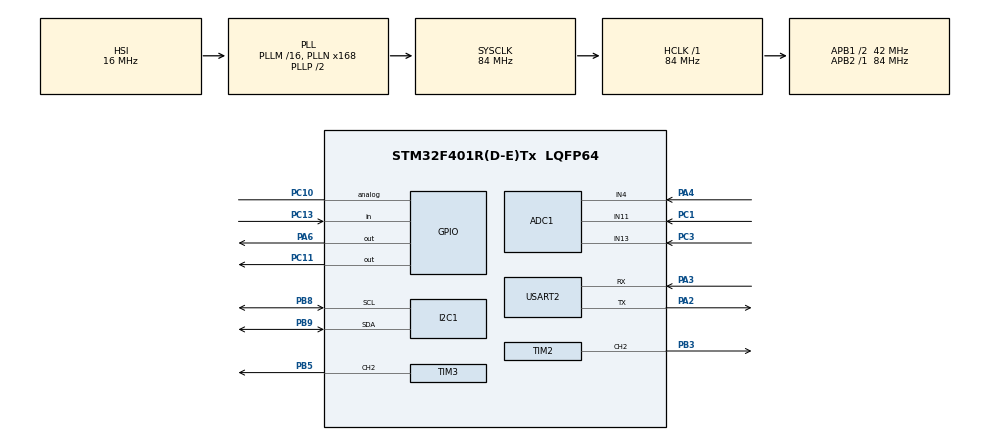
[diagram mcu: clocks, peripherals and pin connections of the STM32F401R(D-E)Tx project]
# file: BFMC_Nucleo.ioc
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ADC1.Channel-0\#ChannelRegularConversion=ADC_CHANNEL_11
ADC1.Channel-1\#ChannelRegularConversion=ADC_CHANNEL_4
ADC1.Channel-2\#ChannelRegularConversion=ADC_CHANNEL_13
ADC1.ClockPrescaler=ADC_CLOCK_SYNC_PCLK_DIV8
ADC1.ContinuousConvMode=ENABLE
ADC1.DMAContinuousRequests=ENABLE
ADC1.DiscontinuousConvMode=DISABLE
ADC1.EOCSelection=ADC_EOC_SEQ_CONV
ADC1.ExternalTrigConv=ADC_EXTERNALTRIGCONV_T3_TRGO
ADC1.InjNumberOfConversion=0
ADC1.NbrOfConversion=3
ADC1.NbrOfConversionFlag=1
ADC1.Rank-0\#ChannelRegularConversion=1
ADC1.Rank-1\#ChannelRegularConversion=2
ADC1.Rank-2\#ChannelRegularConversion=3
ADC1.SamplingTime-0\#ChannelRegularConversion=ADC_SAMPLETIME_480CYCLES
ADC1.SamplingTime-1\#ChannelRegularConversion=ADC_SAMPLETIME_480CYCLES
ADC1.SamplingTime-2\#ChannelRegularConversion=ADC_SAMPLETIME_480CYCLES
ADC1.master=1
Dma.ADC1.0.Direction=DMA_PERIPH_TO_MEMORY
Dma.ADC1.0.FIFOMode=DMA_FIFOMODE_DISABLE
Dma.ADC1.0.Instance=DMA2_Stream0
Dma.ADC1.0.MemDataAlignment=DMA_MDATAALIGN_WORD
Dma.ADC1.0.MemInc=DMA_MINC_ENABLE
Dma.ADC1.0.Mode=DMA_CIRCULAR
Dma.ADC1.0.PeriphDataAlignment=DMA_PDATAALIGN_WORD
Dma.ADC1.0.PeriphInc=DMA_PINC_DISABLE
Dma.ADC1.0.Priority=DMA_PRIORITY_LOW
Dma.Request0=ADC1
I2C1.I2C_Mode=I2C_Fast
Mcu.Family=STM32F4
Mcu.Name=STM32F401R(D-E)Tx
Mcu.Package=LQFP64
NVIC.ADC_IRQn=true\:0\:0\:false\:false\:true\:true\:true\:true
NVIC.DMA2_Stream0_IRQn=true\:0\:0\:false\:false\:true\:false\:true\:true
NVIC.I2C1_ER_IRQn=true\:2\:0\:true\:false\:true\:true\:true\:true
NVIC.I2C1_EV_IRQn=true\:2\:0\:true\:false\:true\:true\:true\:true
NVIC.PriorityGroup=NVIC_PRIORITYGROUP_4
NVIC.TIM2_IRQn=true\:2\:0\:true\:false\:true\:true\:true\:true
NVIC.TIM3_IRQn=true\:1\:0\:true\:false\:true\:true\:true\:true
NVIC.TIM4_IRQn=true\:2\:0\:true\:false\:true\:true\:true\:true
NVIC.USART2_IRQn=true\:0\:0\:true\:false\:true\:true\:true\:true
PA13.Mode=Serial_Wire
PA13.Signal=SYS_JTMS-SWDIO
PA14.Mode=Serial_Wire
PA14.Signal=SYS_JTCK-SWCLK
PA2.Mode=Asynchronous
PA2.Signal=USART2_TX
PA3.Mode=Asynchronous
PA3.Signal=USART2_RX
PA4.Signal=ADCx_IN4
PA6.Signal=GPIO_Output
PB3.Signal=S_TIM2_CH2
PB5.Signal=S_TIM3_CH2
PB8.Mode=I2C
PB8.Signal=I2C1_SCL
PB9.Mode=I2C
PB9.Signal=I2C1_SDA
PC1.Signal=ADCx_IN11
PC10.Signal=GPIO_Analog
PC11.Signal=GPIO_Output
PC13-ANTI_TAMP.Signal=GPIO_Input
PC3.Signal=ADCx_IN13
ProjectManager.HeapSize=0x200
ProjectManager.StackSize=0x400
ProjectManager.TargetToolchain=STM32CubeIDE
RCC.48MHZClocksFreq_Value=42000000
RCC.AHBFreq_Value=84000000
RCC.APB1CLKDivider=RCC_HCLK_DIV2
RCC.APB1Freq_Value=42000000
RCC.APB1TimFreq_Value=84000000
RCC.APB2Freq_Value=84000000
RCC.APB2TimFreq_Value=84000000
RCC.CortexFreq_Value=84000000
RCC.HCLKFreq_Value=84000000
RCC.HSE_VALUE=25000000
RCC.HSI_VALUE=16000000
RCC.LSE_VALUE=32768
RCC.PLLN=168
RCC.SYSCLKFreq_VALUE=84000000
RCC.SYSCLKSource=RCC_SYSCLKSOURCE_PLLCLK
RCC.VCOOutputFreq_Value=168000000
SH.ADCx_IN11.0=ADC1_IN11,IN11
SH.ADCx_IN13.0=ADC1_IN13,IN13
SH.ADCx_IN4.0=ADC1_IN4,IN4
SH.S_TIM2_CH2.0=TIM2_CH2,PWM Generation2 CH2
SH.S_TIM3_CH2.0=TIM3_CH2,PWM Generation2 CH2
TIM2.AutoReloadPreload=TIM_AUTORELOAD_PRELOAD_ENABLE
TIM2.Channel-PWM\ Generation2\ CH2=TIM_CHANNEL_2
TIM2.Period=20000
TIM2.Prescaler=84
TIM2.TIM_MasterOutputTrigger=TIM_TRGO_UPDATE
TIM3.AutoReloadPreload=TIM_AUTORELOAD_PRELOAD_ENABLE
TIM3.Channel-PWM\ Generation2\ CH2=TIM_CHANNEL_2
TIM3.Period=20000
TIM3.Prescaler=84
TIM3.TIM_MasterOutputTrigger=TIM_TRGO_UPDATE
TIM4.Channel-PWM\ Generation1\ No\ Output=TIM_CHANNEL_1
TIM4.OC1Preload_PWM=DISABLE
TIM4.Period=10000
TIM4.Prescaler=84-1
TIM4.Pulse-PWM\ Generation1\ No\ Output=10000
TIM4.TIM_MasterOutputTrigger=TIM_TRGO_ENABLE
USART2.VirtualMode=VM_ASYNC
VP_TIM2_VS_ClockSourceINT.Mode=Internal
VP_TIM3_VS_ClockSourceINT.Mode=Internal
VP_TIM4_VS_ClockSourceINT.Mode=Internal
VP_TIM4_VS_OPM.Mode=OPM_bit
VP_TIM4_VS_no_output1.Mode=PWM Generation1 No Output
board=custom

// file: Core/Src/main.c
/* USER CODE BEGIN Header */
/**
  ******************************************************************************
  * @file           : main.c
  * @brief          : Main program body
  ******************************************************************************
  * @attention
  *
  * <h2><center>&copy; Copyright (c) 2025 STMicroelectronics.
  * All rights reserved.</center></h2>
  *
  * This software component is licensed by ST under BSD 3-Clause license,
  * the "License"; You may not use this file except in compliance with the
  * License. You may obtain a copy of the License at:
  *                        opensource.org/licenses/BSD-3-Clause
  *
  ******************************************************************************
  */
/* USER CODE END Header */
#include "main.h"

/* USER CODE BEGIN Includes */

#include <math.h>
#include <stdio.h>
#include <string.h>
#include <stdbool.h>

/* USER CODE END Includes */

ADC_HandleTypeDef hadc1;
DMA_HandleTypeDef hdma_adc1;

I2C_HandleTypeDef hi2c1;

TIM_HandleTypeDef htim2;
TIM_HandleTypeDef htim3;
TIM_HandleTypeDef htim4;

UART_HandleTypeDef huart2;

void SystemClock_Config(void);
static void MX_GPIO_Init(void);
static void MX_DMA_Init(void);
static void MX_USART2_UART_Init(void);
static void MX_TIM3_Init(void);
static void MX_TIM2_Init(void);
static void MX_ADC1_Init(void);
static void MX_I2C1_Init(void);
static void MX_TIM4_Init(void);
/* USER CODE BEGIN PFP */
float  Map(float Value, float fromLow, float fromHigh, float toLow, float toHigh);
void CommandProcessing();
void ADCaverage();

int16_t interpolate(int speed, const int speedValuesP[], const int speedValuesN[], const int stepValues[], int size);
int conversion(int f_speed, int step_value, int zero_default);

void ReadIMU();

/* USER CODE END PFP */

/* USER CODE BEGIN 0 */
uint32_t adc_IN[3];
int vBat=0;
int instCons=0;

int aveV=0;
int aveI=0;
int countADC=0;
int count2=0;

char rxData[1];				//Buffer Uart Recieve
char txData[250];			//Buffer Uart Transmit

char command[30];			//Buffer Command

int speed=0;
float kPSpeed=0.01;
float kDSpeed=0.01;
int steer=0;
int kl=0;

int timCount=0;
float realSpeed=0;			//velocidad medida con optocoplador
float speedProp=0;			//
float distance=0;

float distanceSpeed;
int	timSpeed=0;
int countTimeSpeed=25;

int optoCount=0;			//Cuenta de optocoplador.
int optoCountWErrors=0;

float optoFrecuency=0;

float optoK =5.66974; 				//5.58;			//Distancia recorrida por pulso de optocoplador

int speedValuesP[25] = {
     40, 50, 60, 70, 80, 90, 100, 110, 120, 130,
    140, 150, 160, 170, 180, 190, 200, 210, 220, 260,
    300, 350, 400, 450, 500
};

int speedValuesN[25] = {
     -40, -50, -60, -70, -80, -90, -100, -110, -120, -130,
    -140, -150, -160, -170, -180, -190, -200, -210, -220, -260,
    -300, -350, -400, -450, -500
};

// StepValues have a scale factor applied (*10)
int stepValues[25] = {
    214, 176, 152, 134, 120, 110, 102, 94, 86, 82,
    78, 74, 70, 68, 66, 64, 60, 58, 56, 50,
    48, 42, 38, 36, 34
};

int velInter=0;

int velInter2=0;

//IMU
int i2cBuff[2];

int direction=0;
HAL_I2C_StateTypeDef estado;
HAL_I2C_StateTypeDef estado2;

uint8_t mode_config = 0x00;  // CONFIGMODE
uint8_t mode_ndof   = 0x0C;  // NDOF //orientacion sin magnetometro=0x0B----con magnetometro 0x0C

uint16_t const BNO055_ADDRESS=82;		//28
uint16_t const BNO055_OPR_MODE_ADDR=0x3D;

uint8_t euler_data[6];
int16_t heading;
int16_t roll;
int16_t pitch;

float f_heading;
float f_headingOffset;

float f_roll;
float f_pitch;

uint16_t const BNO055_EULER_H_LSB_ADDR = 0x1A;

//calculo de coordenadas
float xCoordinates;
float yCoordinates;
float deltaDistance;
float angleOffset=0;

//Optocoplador ADC
int flagRisingOpto=0;

int pepe=1;

/* USER CODE END 0 */

int main(void)
{

  /* MCU Configuration--------------------------------------------------------*/

  /* Reset of all peripherals, Initializes the Flash interface and the Systick. */
  HAL_Init();

  /* Configure the system clock */
  SystemClock_Config();

  /* Initialize all configured peripherals */
  MX_GPIO_Init();
  MX_DMA_Init();
  MX_USART2_UART_Init();
  MX_TIM3_Init();
  MX_TIM2_Init();
  MX_ADC1_Init();
  MX_I2C1_Init();
  MX_TIM4_Init();
  /* USER CODE BEGIN 2 */

  sprintf (txData,
		  "\r\n\r\n"
		  "#################\r\n"
		  "#               #\r\n"
		  "#   I'm GROOT   #\r\n"
		  "#               #\r\n"
		  "#################\r\n"
		  "\r\n");

  HAL_UART_Transmit_IT(&huart2,(uint8_t *)txData, strlen(txData));		//Activa interrupcion de Transmicion UART

  HAL_UART_Receive_IT (&huart2,(uint8_t *)rxData,1);					//Activa interrupcion de recepcion UART

 // HAL_ADC_Start(&hadc1);

  HAL_TIM_PWM_Start_IT(&htim3, TIM_CHANNEL_2);							//activa interrupcion PWM de timer 3
  HAL_TIM_PWM_Start_IT(&htim2, TIM_CHANNEL_2);							//activa interrupcion PWM de timer 2

  HAL_TIM_Base_Start_IT(&htim3);										//Activa interrupcion de fin de cuenta timer 3
  HAL_TIM_Base_Start(&htim3);											//Inicia el timer 3
  HAL_ADC_Start_DMA(&hadc1, (uint32_t *)adc_IN, 3);						//inicio de DMA para ADC con 3 canales

  //IMU

//    estado=HAL_I2C_GetState(&hi2c1);
//    estado2=HAL_I2C_IsDeviceReady(&hi2c1, 28, 1, 100);

    if(HAL_I2C_IsDeviceReady(&hi2c1, 82, 1, 10)== HAL_OK)				//consulta si el dispositivo de la direccion 82 responde
    {
  	  direction=82;

    }else

    HAL_I2C_Mem_Write(&hi2c1, BNO055_ADDRESS, BNO055_OPR_MODE_ADDR, 1, &mode_config, 1, HAL_MAX_DELAY);		//configuracion del IMU
    HAL_Delay(25);
    HAL_I2C_Mem_Write(&hi2c1, BNO055_ADDRESS, BNO055_OPR_MODE_ADDR, 1, &mode_ndof, 1, HAL_MAX_DELAY);		//Configuracion del IMU
    HAL_Delay(250);

	ReadIMU();
	angleOffset=f_heading;
	f_headingOffset=f_heading-angleOffset;		//setea en 0 el angulo con un offset

	//Cosas para optocoplador

	HAL_TIM_OnePulse_Init(&htim4, TIM_OPMODE_SINGLE);  // Modo One Pulse (una vez)
	HAL_TIM_OnePulse_Start(&htim4, TIM_CHANNEL_1);

	__HAL_TIM_SET_COUNTER(&htim4, 0);					//setea la cuenta en 0
	__HAL_TIM_CLEAR_FLAG(&htim4, TIM_FLAG_UPDATE);		//resetea el flag del timer

	TIM4->CR1 |= TIM_CR1_CEN;							//Dispara el timer

/*
	__HAL_TIM_SET_COUNTER(&htim4, 0);
	__HAL_TIM_CLEAR_FLAG(&htim4, TIM_FLAG_UPDATE);

	HAL_TIM_OnePulse_Start(&htim4, TIM_OPMODE_SINGLE);
*/
  /* USER CODE END 2 */

  /* Infinite loop */
  while (1)
  {

    /* USER CODE BEGIN 3 */
	 //Prueba parpadeo de led con tim4
	  /*
	  if ((__HAL_TIM_GET_COUNTER(&htim4) > 7000 || __HAL_TIM_GET_COUNTER(&htim4)==0) )
	  	{
	      	__HAL_TIM_SET_COUNTER(&htim4, 0);
	      	__HAL_TIM_CLEAR_FLAG(&htim4, TIM_FLAG_UPDATE);

	  		TIM4->CR1 |= TIM_CR1_CEN;

	      	HAL_GPIO_TogglePin(GPIOC, GPIO_PIN_11);		//TIM3 Output test

	  	}

*/

//	  pepe=__HAL_TIM_GET_COUNTER(&htim4);		//lee el contador del timer

	if(kl<30)
		{
			speed=0;
			htim2.Instance->CCR2= 1500;			//Setea el ancho del PWM en uS
		}

	if(HAL_GPIO_ReadPin(GPIOC, GPIO_PIN_13)==0)		//Pregunta si se pulso el boton azul de la NUCLEO
	{
		speed=0;
		htim2.Instance->CCR2=1500;
		kl=0;

		ReadIMU();
		//angleOffset=f_heading;
		//f_headingOffset=f_heading-angleOffset;
		distance=0;
		//xCoordinates=0;
		//f_headingOffsetyCoordinates=0;

		sprintf (txData,"Lara Stopped Manualy\r\n\r\n"
				"@kl:%d;;\r\n"
				"@speed:%d;;\r\n"
				"@distance:%.2f;;\r\n"
				"@position:%.2f;%.2f;\r\n"
				"@imu:%.2f;%.2f;%.2f;0;0;0;\r\n"
				"\r\n\r\n"

				"cant de pulsos------------------>%d\r\n"
				"cant de pulsos + errores-------->%d\r\n\r\n"

				,
				kl, speed, distance, xCoordinates, yCoordinates, f_roll, f_pitch, f_headingOffset, optoCount, optoCountWErrors);
		HAL_UART_Transmit_IT(&huart2,(uint8_t *)txData, strlen(txData));

	}

  }
  /* USER CODE END 3 */
}

void SystemClock_Config(void)
{
  RCC_OscInitTypeDef RCC_OscInitStruct = {0};
  RCC_ClkInitTypeDef RCC_ClkInitStruct = {0};

  /** Configure the main internal regulator output voltage
  */
  __HAL_RCC_PWR_CLK_ENABLE();
  __HAL_PWR_VOLTAGESCALING_CONFIG(PWR_REGULATOR_VOLTAGE_SCALE2);

  /** Initializes the RCC Oscillators according to the specified parameters
  * in the RCC_OscInitTypeDef structure.
  */
  RCC_OscInitStruct.OscillatorType = RCC_OSCILLATORTYPE_HSI;
  RCC_OscInitStruct.HSIState = RCC_HSI_ON;
  RCC_OscInitStruct.HSICalibrationValue = RCC_HSICALIBRATION_DEFAULT;
  RCC_OscInitStruct.PLL.PLLState = RCC_PLL_ON;
  RCC_OscInitStruct.PLL.PLLSource = RCC_PLLSOURCE_HSI;
  RCC_OscInitStruct.PLL.PLLM = 16;
  RCC_OscInitStruct.PLL.PLLN = 168;
  RCC_OscInitStruct.PLL.PLLP = RCC_PLLP_DIV2;
  RCC_OscInitStruct.PLL.PLLQ = 4;
  if (HAL_RCC_OscConfig(&RCC_OscInitStruct) != HAL_OK)
  {
    Error_Handler();
  }

  /** Initializes the CPU, AHB and APB buses clocks
  */
  RCC_ClkInitStruct.ClockType = RCC_CLOCKTYPE_HCLK|RCC_CLOCKTYPE_SYSCLK
                              |RCC_CLOCKTYPE_PCLK1|RCC_CLOCKTYPE_PCLK2;
  RCC_ClkInitStruct.SYSCLKSource = RCC_SYSCLKSOURCE_PLLCLK;
  RCC_ClkInitStruct.AHBCLKDivider = RCC_SYSCLK_DIV1;
  RCC_ClkInitStruct.APB1CLKDivider = RCC_HCLK_DIV2;
  RCC_ClkInitStruct.APB2CLKDivider = RCC_HCLK_DIV1;

  if (HAL_RCC_ClockConfig(&RCC_ClkInitStruct, FLASH_LATENCY_2) != HAL_OK)
  {
    Error_Handler();
  }
}

static void MX_ADC1_Init(void)
{

  ADC_ChannelConfTypeDef sConfig = {0};

  /** Configure the global features of the ADC (Clock, Resolution, Data Alignment and number of conversion)
  */
  hadc1.Instance = ADC1;
  hadc1.Init.ClockPrescaler = ADC_CLOCK_SYNC_PCLK_DIV8;
  hadc1.Init.Resolution = ADC_RESOLUTION_12B;
  hadc1.Init.ScanConvMode = ENABLE;
  hadc1.Init.ContinuousConvMode = ENABLE;
  hadc1.Init.DiscontinuousConvMode = DISABLE;
  hadc1.Init.ExternalTrigConvEdge = ADC_EXTERNALTRIGCONVEDGE_RISING;
  hadc1.Init.ExternalTrigConv = ADC_EXTERNALTRIGCONV_T3_TRGO;
  hadc1.Init.DataAlign = ADC_DATAALIGN_RIGHT;
  hadc1.Init.NbrOfConversion = 3;
  hadc1.Init.DMAContinuousRequests = ENABLE;
  hadc1.Init.EOCSelection = ADC_EOC_SEQ_CONV;
  if (HAL_ADC_Init(&hadc1) != HAL_OK)
  {
    Error_Handler();
  }

  /** Configure for the selected ADC regular channel its corresponding rank in the sequencer and its sample time.
  */
  sConfig.Channel = ADC_CHANNEL_11;
  sConfig.Rank = 1;
  sConfig.SamplingTime = ADC_SAMPLETIME_480CYCLES;
  if (HAL_ADC_ConfigChannel(&hadc1, &sConfig) != HAL_OK)
  {
    Error_Handler();
  }

  /** Configure for the selected ADC regular channel its corresponding rank in the sequencer and its sample time.
  */
  sConfig.Channel = ADC_CHANNEL_4;
  sConfig.Rank = 2;
  if (HAL_ADC_ConfigChannel(&hadc1, &sConfig) != HAL_OK)
  {
    Error_Handler();
  }

  /** Configure for the selected ADC regular channel its corresponding rank in the sequencer and its sample time.
  */
  sConfig.Channel = ADC_CHANNEL_13;
  sConfig.Rank = 3;
  if (HAL_ADC_ConfigChannel(&hadc1, &sConfig) != HAL_OK)
  {
    Error_Handler();
  }

}

static void MX_I2C1_Init(void)
{

  hi2c1.Instance = I2C1;
  hi2c1.Init.ClockSpeed = 400000;
  hi2c1.Init.DutyCycle = I2C_DUTYCYCLE_2;
  hi2c1.Init.OwnAddress1 = 0;
  hi2c1.Init.AddressingMode = I2C_ADDRESSINGMODE_7BIT;
  hi2c1.Init.DualAddressMode = I2C_DUALADDRESS_DISABLE;
  hi2c1.Init.OwnAddress2 = 0;
  hi2c1.Init.GeneralCallMode = I2C_GENERALCALL_DISABLE;
  hi2c1.Init.NoStretchMode = I2C_NOSTRETCH_DISABLE;
  if (HAL_I2C_Init(&hi2c1) != HAL_OK)
  {
    Error_Handler();
  }

}

static void MX_TIM2_Init(void)
{

  TIM_ClockConfigTypeDef sClockSourceConfig = {0};
  TIM_MasterConfigTypeDef sMasterConfig = {0};
  TIM_OC_InitTypeDef sConfigOC = {0};

  htim2.Instance = TIM2;
  htim2.Init.Prescaler = 84;
  htim2.Init.CounterMode = TIM_COUNTERMODE_UP;
  htim2.Init.Period = 20000;
  htim2.Init.ClockDivision = TIM_CLOCKDIVISION_DIV1;
  htim2.Init.AutoReloadPreload = TIM_AUTORELOAD_PRELOAD_ENABLE;
  if (HAL_TIM_Base_Init(&htim2) != HAL_OK)
  {
    Error_Handler();
  }
  sClockSourceConfig.ClockSource = TIM_CLOCKSOURCE_INTERNAL;
  if (HAL_TIM_ConfigClockSource(&htim2, &sClockSourceConfig) != HAL_OK)
  {
    Error_Handler();
  }
  if (HAL_TIM_PWM_Init(&htim2) != HAL_OK)
  {
    Error_Handler();
  }
  sMasterConfig.MasterOutputTrigger = TIM_TRGO_UPDATE;
  sMasterConfig.MasterSlaveMode = TIM_MASTERSLAVEMODE_DISABLE;
  if (HAL_TIMEx_MasterConfigSynchronization(&htim2, &sMasterConfig) != HAL_OK)
  {
    Error_Handler();
  }
  sConfigOC.OCMode = TIM_OCMODE_PWM1;
  sConfigOC.Pulse = 0;
  sConfigOC.OCPolarity = TIM_OCPOLARITY_HIGH;
  sConfigOC.OCFastMode = TIM_OCFAST_DISABLE;
  if (HAL_TIM_PWM_ConfigChannel(&htim2, &sConfigOC, TIM_CHANNEL_2) != HAL_OK)
  {
    Error_Handler();
  }
  HAL_TIM_MspPostInit(&htim2);

}

static void MX_TIM3_Init(void)
{

  TIM_ClockConfigTypeDef sClockSourceConfig = {0};
  TIM_MasterConfigTypeDef sMasterConfig = {0};
  TIM_OC_InitTypeDef sConfigOC = {0};

  htim3.Instance = TIM3;
  htim3.Init.Prescaler = 84;
  htim3.Init.CounterMode = TIM_COUNTERMODE_UP;
  htim3.Init.Period = 20000;
  htim3.Init.ClockDivision = TIM_CLOCKDIVISION_DIV1;
  htim3.Init.AutoReloadPreload = TIM_AUTORELOAD_PRELOAD_ENABLE;
  if (HAL_TIM_Base_Init(&htim3) != HAL_OK)
  {
    Error_Handler();
  }
  sClockSourceConfig.ClockSource = TIM_CLOCKSOURCE_INTERNAL;
  if (HAL_TIM_ConfigClockSource(&htim3, &sClockSourceConfig) != HAL_OK)
  {
    Error_Handler();
  }
  if (HAL_TIM_PWM_Init(&htim3) != HAL_OK)
  {
    Error_Handler();
  }
  sMasterConfig.MasterOutputTrigger = TIM_TRGO_UPDATE;
  sMasterConfig.MasterSlaveMode = TIM_MASTERSLAVEMODE_DISABLE;
  if (HAL_TIMEx_MasterConfigSynchronization(&htim3, &sMasterConfig) != HAL_OK)
  {
    Error_Handler();
  }
  sConfigOC.OCMode = TIM_OCMODE_PWM1;
  sConfigOC.Pulse = 0;
  sConfigOC.OCPolarity = TIM_OCPOLARITY_HIGH;
  sConfigOC.OCFastMode = TIM_OCFAST_DISABLE;
  if (HAL_TIM_PWM_ConfigChannel(&htim3, &sConfigOC, TIM_CHANNEL_2) != HAL_OK)
  {
    Error_Handler();
  }
  HAL_TIM_MspPostInit(&htim3);

}

static void MX_TIM4_Init(void)
{

  TIM_ClockConfigTypeDef sClockSourceConfig = {0};
  TIM_MasterConfigTypeDef sMasterConfig = {0};
  TIM_OC_InitTypeDef sConfigOC = {0};

  htim4.Instance = TIM4;
  htim4.Init.Prescaler = 84-1;
  htim4.Init.CounterMode = TIM_COUNTERMODE_UP;
  htim4.Init.Period = 10000;
  htim4.Init.ClockDivision = TIM_CLOCKDIVISION_DIV1;
  htim4.Init.AutoReloadPreload = TIM_AUTORELOAD_PRELOAD_DISABLE;
  if (HAL_TIM_Base_Init(&htim4) != HAL_OK)
  {
    Error_Handler();
  }
  sClockSourceConfig.ClockSource = TIM_CLOCKSOURCE_INTERNAL;
  if (HAL_TIM_ConfigClockSource(&htim4, &sClockSourceConfig) != HAL_OK)
  {
    Error_Handler();
  }
  if (HAL_TIM_PWM_Init(&htim4) != HAL_OK)
  {
    Error_Handler();
  }
  if (HAL_TIM_OnePulse_Init(&htim4, TIM_OPMODE_SINGLE) != HAL_OK)
  {
    Error_Handler();
  }
  sMasterConfig.MasterOutputTrigger = TIM_TRGO_ENABLE;
  sMasterConfig.MasterSlaveMode = TIM_MASTERSLAVEMODE_DISABLE;
  if (HAL_TIMEx_MasterConfigSynchronization(&htim4, &sMasterConfig) != HAL_OK)
  {
    Error_Handler();
  }
  sConfigOC.OCMode = TIM_OCMODE_PWM1;
  sConfigOC.Pulse = 10000;
  sConfigOC.OCPolarity = TIM_OCPOLARITY_HIGH;
  sConfigOC.OCFastMode = TIM_OCFAST_DISABLE;
  if (HAL_TIM_PWM_ConfigChannel(&htim4, &sConfigOC, TIM_CHANNEL_1) != HAL_OK)
  {
    Error_Handler();
  }
  __HAL_TIM_DISABLE_OCxPRELOAD(&htim4, TIM_CHANNEL_1);

}

static void MX_USART2_UART_Init(void)
{

  huart2.Instance = USART2;
  huart2.Init.BaudRate = 115200;
  huart2.Init.WordLength = UART_WORDLENGTH_8B;
  huart2.Init.StopBits = UART_STOPBITS_1;
  huart2.Init.Parity = UART_PARITY_NONE;
  huart2.Init.Mode = UART_MODE_TX_RX;
  huart2.Init.HwFlowCtl = UART_HWCONTROL_NONE;
  huart2.Init.OverSampling = UART_OVERSAMPLING_16;
  if (HAL_UART_Init(&huart2) != HAL_OK)
  {
    Error_Handler();
  }

}

static void MX_DMA_Init(void)
{

  /* DMA controller clock enable */
  __HAL_RCC_DMA2_CLK_ENABLE();

  /* DMA interrupt init */
  /* DMA2_Stream0_IRQn interrupt configuration */
  HAL_NVIC_SetPriority(DMA2_Stream0_IRQn, 0, 0);
  HAL_NVIC_EnableIRQ(DMA2_Stream0_IRQn);

}

static void MX_GPIO_Init(void)
{
  GPIO_InitTypeDef GPIO_InitStruct = {0};

  /* GPIO Ports Clock Enable */
  __HAL_RCC_GPIOC_CLK_ENABLE();
  __HAL_RCC_GPIOA_CLK_ENABLE();
  __HAL_RCC_GPIOB_CLK_ENABLE();

  /*Configure GPIO pin Output Level */
  HAL_GPIO_WritePin(GPIOA, GPIO_PIN_6, GPIO_PIN_RESET);

  /*Configure GPIO pin Output Level */
  HAL_GPIO_WritePin(GPIOC, GPIO_PIN_11, GPIO_PIN_RESET);

  /*Configure GPIO pin : PC13 */
  GPIO_InitStruct.Pin = GPIO_PIN_13;
  GPIO_InitStruct.Mode = GPIO_MODE_INPUT;
  GPIO_InitStruct.Pull = GPIO_NOPULL;
  HAL_GPIO_Init(GPIOC, &GPIO_InitStruct);

  /*Configure GPIO pin : PA6 */
  GPIO_InitStruct.Pin = GPIO_PIN_6;
  GPIO_InitStruct.Mode = GPIO_MODE_OUTPUT_PP;
  GPIO_InitStruct.Pull = GPIO_NOPULL;
  GPIO_InitStruct.Speed = GPIO_SPEED_FREQ_LOW;
  HAL_GPIO_Init(GPIOA, &GPIO_InitStruct);

  /*Configure GPIO pin : PC10 */
  GPIO_InitStruct.Pin = GPIO_PIN_10;
  GPIO_InitStruct.Mode = GPIO_MODE_ANALOG;
  GPIO_InitStruct.Pull = GPIO_NOPULL;
  HAL_GPIO_Init(GPIOC, &GPIO_InitStruct);

  /*Configure GPIO pin : PC11 */
  GPIO_InitStruct.Pin = GPIO_PIN_11;
  GPIO_InitStruct.Mode = GPIO_MODE_OUTPUT_PP;
  GPIO_InitStruct.Pull = GPIO_NOPULL;
  GPIO_InitStruct.Speed = GPIO_SPEED_FREQ_LOW;
  HAL_GPIO_Init(GPIOC, &GPIO_InitStruct);

}

/* USER CODE BEGIN 4 */

void HAL_UART_RxCpltCallback(UART_HandleTypeDef *huart)				//Interrupcion de que se recibio alg en la UART
{

	if(huart->Instance ==USART2)									//Pregunta si la interrupcion es de la UART2
	{
		HAL_UART_Receive_IT (&huart2,(uint8_t *)rxData,1);			//Lee el bye recibido y lo guarda en rxData

		if(rxData[0] == '#')
		{
			strcpy(command, "");									//Borra el string de command
		}
		strncat(command, rxData, 1);								//concatena command con rxData

		if(rxData[0] == '\n')
		{
			//Pcess Command
			//CommandProcessing();

			char cmd[20];
			int value1;
			int value2;
			int value3;
			sscanf(command, "#%[^:]:%d;%d;%d", cmd, &value1, &value2, &value3);		//Separa los parametros

			if(strcmp(cmd, "batteryCapacity") == 0)
			{
				sprintf (txData,"@batteryCapacity:ack;;\r\n");
				HAL_UART_Transmit_IT(&huart2,(uint8_t *)txData, strlen(txData));
			}

			if(strcmp(cmd, "kl") == 0)
			{
				kl=value1;
				sprintf (txData,"@kl:%d;;\r\n", kl);
				HAL_UART_Transmit_IT(&huart2,(uint8_t *)txData, strlen(txData));
				return;
			}

			if(strcmp(cmd, "speed") == 0)
			{

				if(kl >= 30)
				{
					speed=value1;

					int stepValue=interpolate(speed, speedValuesP, speedValuesN, stepValues, 25);

					htim2.Instance->CCR2=conversion(speed, stepValue, 1491);

					sprintf (txData,"@speed:%d;;\r\n", speed);
					HAL_UART_Transmit_IT(&huart2,(uint8_t *)txData, strlen(txData));

				}else
				{
					speed=0;
					sprintf (txData,"kl should be 30\r\n");
					HAL_UART_Transmit_IT(&huart2,(uint8_t *)txData, strlen(txData));
				}

				return;
			}

			if(strcmp(cmd, "steer") == 0)
			{
				steer=value1;
				sprintf (txData,"@steer:%d;;\r\n", steer);
				HAL_UART_Transmit_IT(&huart2,(uint8_t *)txData, strlen(txData));

				htim3.Instance->CCR2= Map(steer,-230,230,1000,2000);
				return;
			}

			if(strcmp(cmd, "setDistance") == 0)
				{
					distance=value1;

					sprintf (txData,"@setDistance:%.2f;;\r\n", distance);
					HAL_UART_Transmit_IT(&huart2,(uint8_t *)txData, strlen(txData));
				}

			if(strcmp(cmd, "setPosition") == 0)
				{
					xCoordinates=value1;
					yCoordinates=value2;

					sprintf (txData,"@setPosition:%.2f;%.2f;\r\n", xCoordinates, yCoordinates);
					HAL_UART_Transmit_IT(&huart2,(uint8_t *)txData, strlen(txData));
				}

			if(strcmp(cmd, "setAngle") == 0)
				{
					ReadIMU();

					angleOffset=f_heading-value1;

					f_headingOffset=f_heading-angleOffset;

					sprintf (txData,"@setAngle:%.2f;:\r\n", f_headingOffset);
					HAL_UART_Transmit_IT(&huart2,(uint8_t *)txData, strlen(txData));
				}

		}
	}
}

void HAL_TIM_PeriodElapsedCallback (TIM_HandleTypeDef *htim)		//Timer
{
	if(htim->Instance ==TIM3)
	{
		//HAL_GPIO_TogglePin(GPIOC, GPIO_PIN_11);		//TIM3 Output test

		//Speed measurement
		timSpeed++;
		if(timSpeed>=countTimeSpeed)
		{
			//realSpeed=copysign(distanceSpeed*2, speed);
			realSpeed=distanceSpeed/(0.02*countTimeSpeed);

			optoFrecuency=distanceSpeed/(optoK*0.02*countTimeSpeed);

			distanceSpeed=0;
			timSpeed=0;

			if(kl >= 30)
			{
				sprintf (txData,
						"@realSpeed:%.2f;;\r\n"
						"@distance:%.2f;;\r\n"
						"@position:%.2f;%.2f;\r\n"
						"@imu:%.2f;%.2f;%.2f;0;0;0;\r\n",
						realSpeed, distance, xCoordinates, yCoordinates, f_roll, f_pitch, f_headingOffset);
				HAL_UART_Transmit_IT(&huart2,(uint8_t *)txData, strlen(txData));
			}else if(kl >= 15)
			{
				sprintf (txData, "@imu:%.2f;%.2f;%.2f;0;0;0;\r\n", f_roll, f_pitch ,f_headingOffset);
				HAL_UART_Transmit_IT(&huart2,(uint8_t *)txData, strlen(txData));
			}

		}
		//Setting real speed
		if(speed !=0)
		{
	//		speedProp+=(speed-realSpeed)*kPSpeed+(speed-realSpeed)*(speed-realSpeed)*kDSpeed;
//			speedProp+=(speed-realSpeed)*kPSpeed;	//kSpeed=0.01
//			htim2.Instance->CCR2= Map(speedProp,500,-500,1360,1640);
/*
			htim2.Instance->CCR2= Map(speed,500,-500,1360,1640);

			if(htim2.Instance->CCR2>1640)
			{
				htim2.Instance->CCR2=1640;
			}
			if(htim2.Instance->CCR2<1360)
			{
				htim2.Instance->CCR2=1360;
			}

		}else
		{
			speedProp=0;
			htim2.Instance->CCR2=1500;
		}*/

		}
	}
}
/*
if (__HAL_TIM_GET_FLAG(&htim4, TIM_FLAG_UPDATE))
{
	  // Se cumplió el tiempo

	  __HAL_TIM_CLEAR_FLAG(&htim4, TIM_FLAG_UPDATE);
	  // ... tu código acá ...
	  __HAL_TIM_SET_COUNTER(&htim4, 0);
	  TIM4->CR1 |= TIM_CR1_CEN;

	  HAL_GPIO_TogglePin(GPIOA, GPIO_PIN_6);
*/

//void HAL_GPIO_EXTI_Callback(uint16_t GPIO_Pin)
/*{
	if (GPIO_Pin == GPIO_PIN_10)				//Optocoplator flanco descendente
	    {
	    	optoCountWErrors++;
	    }

if (GPIO_Pin == GPIO_PIN_10 && __HAL_TIM_GET_FLAG(&htim4, TIM_FLAG_UPDATE) && !HAL_GPIO_ReadPin(GPIOC, GPIO_PIN_10))				//Optocoplator flanco descendente
    {
    	__HAL_TIM_SET_COUNTER(&htim4, 0);
    	__HAL_TIM_CLEAR_FLAG(&htim4, TIM_FLAG_UPDATE);

		TIM4->CR1 |= TIM_CR1_CEN;

    	HAL_GPIO_TogglePin(GPIOC, GPIO_PIN_11);		//TIM3 Output test
    }
*/
    //if (GPIO_Pin == GPIO_PIN_10 && __HAL_TIM_GET_FLAG(&htim4, TIM_FLAG_UPDATE) /*&& HAL_GPIO_ReadPin(GPIOC, GPIO_PIN_10)*/)				//Optocoplator flanco descendente
/*	if (GPIO_Pin == GPIO_PIN_10 && (__HAL_TIM_GET_COUNTER(&htim4) > 7000 || __HAL_TIM_GET_COUNTER(&htim4)==0))				//Optocoplator flanco descendente
	{
    	__HAL_TIM_SET_COUNTER(&htim4, 0);
    	__HAL_TIM_CLEAR_FLAG(&htim4, TIM_FLAG_UPDATE);

		TIM4->CR1 |= TIM_CR1_CEN;

    	HAL_GPIO_TogglePin(GPIOC, GPIO_PIN_11);		//TIM3 Output test

    	ReadIMU();
    	optoCount++;

    	//
    	if(speed > 0)
    	{
    		distance+=optoK;			//0.215214;				//5.729;
    		distanceSpeed+=optoK;		//0.215214;				//5.729;

    	   	xCoordinates+=optoK*cos(f_headingOffset* (M_PI / 180.0));
   			yCoordinates+=optoK*sin(f_headingOffset* (M_PI / 180.0));

    	}else if(speed < 0)
    	{
    		distance-=optoK;
    		distanceSpeed-=optoK;

    	   	xCoordinates-=optoK*cos(f_headingOffset* (M_PI / 180.0));
   			yCoordinates-=optoK*sin(f_headingOffset* (M_PI / 180.0));

    	}
    }
}
*/
void HAL_ADC_ConvCpltCallback(ADC_HandleTypeDef* hadc)		//interrupcion de lectura ADC
{
	if (hadc->Instance == ADC1/* && (hadc->Instance->ISR & ADC_FLAG_EOC_7)*/)
	{
		if(countADC <10000)			//10000=1Seg
		{
			aveV+=adc_IN[0];
			aveI+=adc_IN[1];
			countADC++;
		}else
		{
			vBat=aveV*2.215/10000;
			instCons=aveI*8.35/10000;
			aveV=0;
			aveI=0;
			countADC=0;

			if(kl >= 15)
			{
				sprintf (txData,"@battery:%d;;\r\n""@instant:%d;;\r\n", vBat, instCons);
				HAL_UART_Transmit_IT(&huart2,(uint8_t *)txData, strlen(txData));
			}
		}

		if(adc_IN[2] > 3000)
		{
			flagRisingOpto=1;
		}
		if(adc_IN[2] < 1000 && flagRisingOpto==1)
		{
			flagRisingOpto=0;
			/*
			__HAL_TIM_SET_COUNTER(&htim4, 0);
			__HAL_TIM_CLEAR_FLAG(&htim4, TIM_FLAG_UPDATE);

			TIM4->CR1 |= TIM_CR1_CEN;
*/
			HAL_GPIO_TogglePin(GPIOC, GPIO_PIN_11);		//TIM3 Output test

			ReadIMU();
			optoCount++;

			//
			if(speed > 0)
			{
				distance+=optoK;			//0.215214;				//5.729;
				distanceSpeed+=optoK;		//0.215214;				//5.729;

				xCoordinates+=optoK*cos(f_headingOffset* (M_PI / 180.0));
				yCoordinates+=optoK*sin(f_headingOffset* (M_PI / 180.0));

			}else if(speed < 0)
			{
				distance-=optoK;
				distanceSpeed-=optoK;

				xCoordinates-=optoK*cos(f_headingOffset* (M_PI / 180.0));
				yCoordinates-=optoK*sin(f_headingOffset* (M_PI / 180.0));

			}
		}
	}
}

void ReadIMU()
{
	//leer orientacion
	HAL_I2C_Mem_Read(&hi2c1, BNO055_ADDRESS, BNO055_EULER_H_LSB_ADDR, 1, euler_data, 6, 50);

	heading = (euler_data[1] << 8) | euler_data[0];
	roll    = (euler_data[3] << 8) | euler_data[2];
	pitch   = (euler_data[5] << 8) | euler_data[4];

	// Convertir a grados (unidad es 1/16 grados)
	f_heading = 360-(heading / 16.0);
	f_roll    = roll / 16.0;
	f_pitch   = pitch / 16.0;

	//calculo de coordenadas
	f_headingOffset=f_heading-angleOffset;
	if(f_headingOffset>360)
	{
		f_headingOffset-=360;
	}
	if(f_headingOffset<0)
	{
		f_headingOffset+=360;
	}

}

void CommandProcessing()
{
	char cmd[20];
	int value1;
	int value2;
	int value3;
	sscanf(command, "#%[^:]:%d;%d;%d", cmd, &value1, &value2, &value3);

	if(strcmp(cmd, "batteryCapacity") == 0)
	{
		sprintf (txData,"@batteryCapacity:ack;;\r\n");
		HAL_UART_Transmit_IT(&huart2,(uint8_t *)txData, strlen(txData));
	}

	if(strcmp(cmd, "kl") == 0)
	{
		kl=value1;
		sprintf (txData,"@kl:%d;;\r\n", kl);
		HAL_UART_Transmit_IT(&huart2,(uint8_t *)txData, strlen(txData));
		return;
	}

	if(strcmp(cmd, "speed") == 0)
	{

		if(kl >= 30)
		{
			speed=value1;

			int stepValue=interpolate(speed, speedValuesP, speedValuesN, stepValues, 25);

			htim2.Instance->CCR2=conversion(speed, stepValue, 1491);

			sprintf (txData,"@speed:%d;;\r\n", speed);
			HAL_UART_Transmit_IT(&huart2,(uint8_t *)txData, strlen(txData));

		}else
		{
			speed=0;
			sprintf (txData,"kl should be 30\r\n");
			HAL_UART_Transmit_IT(&huart2,(uint8_t *)txData, strlen(txData));
		}

		return;
	}

	if(strcmp(cmd, "steer") == 0)
	{
		steer=value1;
		sprintf (txData,"@steer:%d;;\r\n", steer);
		HAL_UART_Transmit_IT(&huart2,(uint8_t *)txData, strlen(txData));

		htim3.Instance->CCR2= Map(steer,-230,230,1000,2000);
		return;
	}

	if(strcmp(cmd, "setDistance") == 0)
		{
			distance=value1;

			sprintf (txData,"@setDistance:%.2f;;\r\n", distance);
			HAL_UART_Transmit_IT(&huart2,(uint8_t *)txData, strlen(txData));
		}

	if(strcmp(cmd, "setPosition") == 0)
		{
			xCoordinates=value1;
			yCoordinates=value2;

			sprintf (txData,"@setPosition:%.2f;%.2f;\r\n", xCoordinates, yCoordinates);
			HAL_UART_Transmit_IT(&huart2,(uint8_t *)txData, strlen(txData));
		}

	if(strcmp(cmd, "setAngle") == 0)
		{
			ReadIMU();

			angleOffset=f_heading-value1;

			f_headingOffset=f_heading-angleOffset;

			sprintf (txData,"@setAngle:%.2f;:\r\n", f_headingOffset);
			HAL_UART_Transmit_IT(&huart2,(uint8_t *)txData, strlen(txData));
		}

}

float  Map(float Value, float fromLow, float fromHigh, float toLow, float toHigh)
{
	float Output=0;
	Output=(((toHigh-toLow)/(fromHigh-fromLow))*(Value-fromLow))+toLow;
	return Output;
}

int16_t interpolate(int speed, const int speedValuesP[], const int speedValuesN[], const int stepValues[], int size)
{
        if(speed <= speedValuesP[0]){
            if (speed >= speedValuesN[0])
            {
                return stepValues[0];
            }
            else{
                for(uint8_t i=1; i<size; i++)
                {
                    if (speed >= speedValuesN[i])
                    {
                        int slope = (stepValues[i] - stepValues[i-1]) / (speedValuesN[i] - speedValuesN[i-1]);
                        return stepValues[i-1] + slope * (speed - speedValuesN[i-1]);
                    }
                }
            }

        }
        if(speed >= speedValuesP[size-1]) return stepValues[size-1];
        if(speed <= speedValuesN[size-1]) return stepValues[size-1];

        for(uint8_t i=1; i<size; i++)
        {
            if (speed <= speedValuesP[i])
            {
                int slope = (stepValues[i] - stepValues[i-1]) / (speedValuesP[i] - speedValuesP[i-1]);
                return stepValues[i-1] + slope * (speed - speedValuesP[i-1]);
            }
        }

        return -1;
    }

int conversion(int f_speed, int step_value, int zero_default)
{
    return ((step_value * -f_speed)/100 + zero_default);
}

/* USER CODE END 4 */

void Error_Handler(void)
{
  __disable_irq();
  while (1)
  {
  }
}
